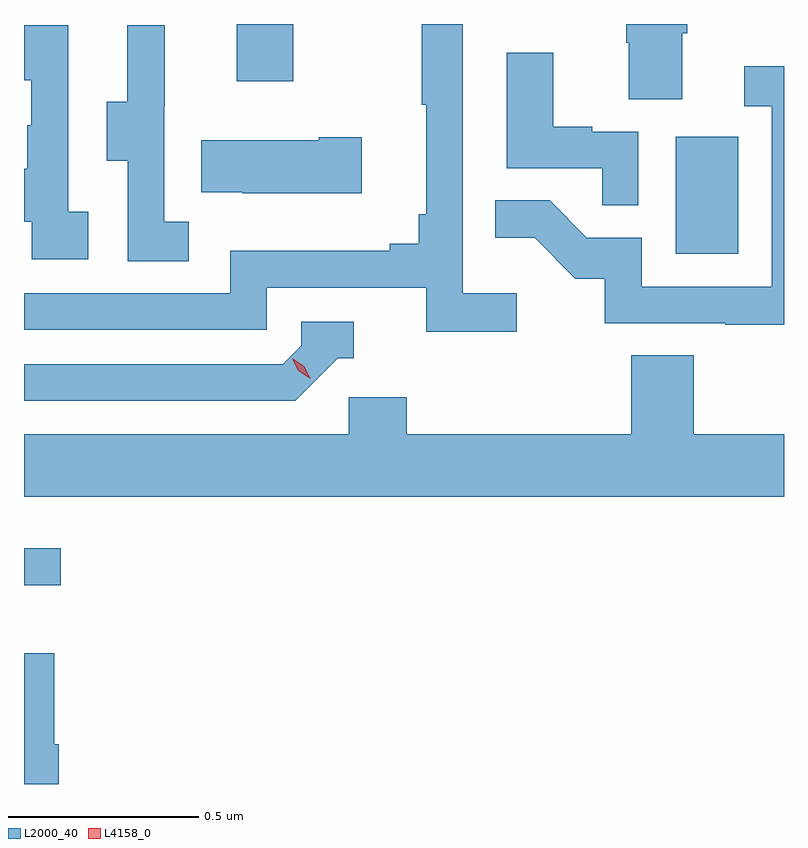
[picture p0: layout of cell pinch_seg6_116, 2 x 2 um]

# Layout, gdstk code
import gdstk
lib = gdstk.Library(unit=1e-6, precision=1e-09)
def R(c, l, rs):  # rectangles x0, y0, x1, y1
    for r in rs: c.add(gdstk.rectangle(r[:2], r[2:], *l))
def P(c, l, *ps):  # polygons
    for p in ps: c.add(gdstk.Polygon(p, *l))
L2000_40 = (2000, 40)
L4158_0 = (4158, 0)

pinch_seg6_116 = lib.new_cell('pinch_seg6_116')
R(pinch_seg6_116, L2000_40, [(1011.465,929.787,1011.562,929.884), (1013.18,930.66,1013.344,930.967), (1012.025,931.113,1012.173,931.264)])
P(pinch_seg6_116, L2000_40, [(1013.197,931.24),(1013.21,931.24),(1013.21,931.264),(1013.05,931.264),(1013.05,931.215),(1013.057,931.215),(1013.057,931.066),(1013.197,931.066)],
  [(1012.762,930.556),(1012.62,930.556),(1012.62,931.264),(1012.512,931.264),(1012.512,931.051),(1012.523,931.051),(1012.523,930.763),(1012.504,930.763),(1012.504,930.686),(1012.427,930.686),(1012.427,930.667),(1012.008,930.667),(1012.008,930.555),(1011.465,930.555),(1011.465,930.459),(1012.104,930.459),(1012.104,930.57),(1012.523,930.57),(1012.523,930.454),(1012.762,930.454)],
  [(1011.898,930.743),(1011.834,930.743),(1011.834,931.047),(1011.836,931.047),(1011.836,931.261),(1011.737,931.261),(1011.737,931.059),(1011.683,931.059),(1011.683,930.904),(1011.738,930.904),(1011.738,930.64),(1011.898,930.64)],
  [(1011.634,930.77),(1011.582,930.77),(1011.582,931.261),(1011.465,931.261),(1011.465,931.116),(1011.484,931.116),(1011.484,930.998),(1011.474,930.998),(1011.474,930.883),(1011.465,930.883),(1011.465,930.743),(1011.486,930.743),(1011.486,930.645),(1011.634,930.645)],
  [(1013.082,930.981),(1012.961,930.981),(1012.961,930.994),(1012.858,930.994),(1012.858,931.189),(1012.736,931.189),(1012.736,930.885),(1012.987,930.885),(1012.987,930.787),(1013.082,930.787)],
  [(1013.465,931.153),(1013.361,931.153),(1013.361,931.047),(1013.433,931.047),(1013.433,930.573),(1013.091,930.573),(1013.091,930.702),(1012.946,930.702),(1012.848,930.8),(1012.705,930.8),(1012.705,930.701),(1012.809,930.701),(1012.916,930.594),(1012.993,930.594),(1012.993,930.477),(1013.311,930.477),(1013.311,930.472),(1013.465,930.472)],
  [(1012.354,930.966),(1012.241,930.966),(1012.241,930.958),(1011.931,930.958),(1011.931,930.821),(1012.039,930.821),(1012.039,930.818),(1012.354,930.818)],
  [(1012.29,930.384),(1012.333,930.384),(1012.333,930.48),(1012.194,930.48),(1012.194,930.417),(1012.146,930.369),(1011.465,930.369),(1011.465,930.273),(1012.179,930.273)],
  [(1013.465,930.184),(1013.228,930.184),(1013.228,930.392),(1013.063,930.392),(1013.063,930.184),(1012.472,930.184),(1012.472,930.282),(1012.32,930.282),(1012.32,930.184),(1011.465,930.184),(1011.465,930.02),(1013.465,930.02)],
  [(1011.557,929.368),(1011.544,929.368),(1011.544,929.608),(1011.465,929.608),(1011.465,929.264),(1011.557,929.264)])
P(pinch_seg6_116, L4158_0, [(1012.218,930.331),(1012.187,930.351),(1012.171,930.384),(1012.171,930.384),(1012.171,930.384),(1012.202,930.364),(1012.218,930.332),(1012.218,930.331)])

lib.write_gds('pinch_seg6_116.gds')
